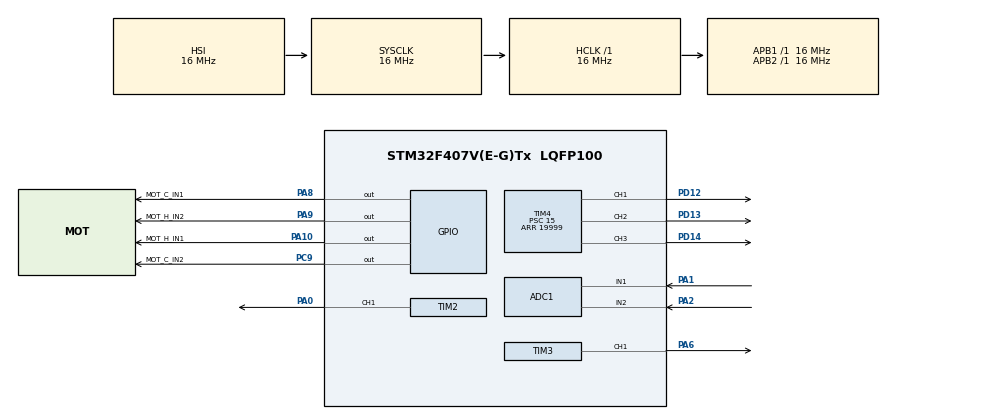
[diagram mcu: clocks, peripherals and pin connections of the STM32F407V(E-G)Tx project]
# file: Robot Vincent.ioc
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ADC1.Channel-0\#ChannelRegularConversion=ADC_CHANNEL_1
ADC1.Channel-1\#ChannelInjectedConversion=ADC_CHANNEL_1
ADC1.Channel-2\#ChannelInjectedConversion=ADC_CHANNEL_1
ADC1.Channel-3\#ChannelRegularConversion=ADC_CHANNEL_2
ADC1.InjNumberOfConversion=2
ADC1.InjectedOffset-1\#ChannelInjectedConversion=0
ADC1.InjectedOffset-2\#ChannelInjectedConversion=0
ADC1.InjectedRank-1\#ChannelInjectedConversion=1
ADC1.InjectedRank-2\#ChannelInjectedConversion=2
ADC1.NbrOfConversion=2
ADC1.NbrOfConversionFlag=1
ADC1.Rank-0\#ChannelRegularConversion=1
ADC1.Rank-3\#ChannelRegularConversion=2
ADC1.SamplingTime-0\#ChannelRegularConversion=ADC_SAMPLETIME_56CYCLES
ADC1.SamplingTime-1\#ChannelInjectedConversion=ADC_SAMPLETIME_56CYCLES
ADC1.SamplingTime-2\#ChannelInjectedConversion=ADC_SAMPLETIME_56CYCLES
ADC1.SamplingTime-3\#ChannelRegularConversion=ADC_SAMPLETIME_56CYCLES
ADC1.ScanConvMode=ENABLE
ADC1.master=1
FREERTOS.Queues01=Queue_commands,5,Command_t,0,Dynamic,NULL,NULL;Queue_points,10,Point3D_t,0,Dynamic,NULL,NULL;Queue_angles,2,Angles_t,0,Dynamic,NULL,NULL
FREERTOS.Tasks01=task_Comm,24,512,Start_task_Comm,Default,NULL,Dynamic,NULL,NULL;task_PID,48,256,Start_task_PID,Default,NULL,Dynamic,NULL,NULL;task_IK,40,1024,Start_task_IK,Default,NULL,Dynamic,NULL,NULL;task_Planner,32,512,Start_task_Planner,Default,NULL,Dynamic,NULL,NULL
FREERTOS.configCHECK_FOR_STACK_OVERFLOW=1
FREERTOS.configENABLE_FPU=1
FREERTOS.configLIBRARY_LOWEST_INTERRUPT_PRIORITY=15
FREERTOS.configLIBRARY_MAX_SYSCALL_INTERRUPT_PRIORITY=5
FREERTOS.configTOTAL_HEAP_SIZE=20480
FREERTOS.configUSE_NEWLIB_REENTRANT=1
Mcu.Family=STM32F4
Mcu.Name=STM32F407V(E-G)Tx
Mcu.Package=LQFP100
NVIC.PriorityGroup=NVIC_PRIORITYGROUP_4
NVIC.TIM6_DAC_IRQn=true\:0\:0\:true\:false\:true\:false\:false\:true\:true
NVIC.TimeBase=TIM6_DAC_IRQn
NVIC.TimeBaseIP=TIM6
PA0-WKUP.Signal=S_TIM2_CH1_ETR
PA1.Signal=ADCx_IN1
PA10.GPIO_Label=MOT_H_IN1
PA10.Signal=GPIO_Output
PA2.Signal=ADCx_IN2
PA6.Signal=S_TIM3_CH1
PA8.GPIO_Label=MOT_C_IN1
PA8.Signal=GPIO_Output
PA9.GPIO_Label=MOT_H_IN2
PA9.Signal=GPIO_Output
PC9.GPIO_Label=MOT_C_IN2
PC9.Signal=GPIO_Output
PD12.Signal=S_TIM4_CH1
PD13.Signal=S_TIM4_CH2
PD14.Signal=S_TIM4_CH3
ProjectManager.HeapSize=0x200
ProjectManager.StackSize=0x400
ProjectManager.TargetToolchain=STM32CubeIDE
RCC.48MHZClocksFreq_Value=14285714.285714285
RCC.AHBFreq_Value=16000000
RCC.APB1Freq_Value=16000000
RCC.APB1TimFreq_Value=16000000
RCC.APB2Freq_Value=16000000
RCC.APB2TimFreq_Value=16000000
RCC.CortexFreq_Value=16000000
RCC.HCLKFreq_Value=16000000
RCC.HSE_VALUE=8000000
RCC.HSI_VALUE=16000000
RCC.LSE_VALUE=32768
RCC.PLLM=8
RCC.PLLN=50
RCC.PLLP=RCC_PLLP_DIV4
RCC.PLLQ=7
RCC.SYSCLKFreq_VALUE=16000000
RCC.VCOOutputFreq_Value=100000000
SH.ADCx_IN1.0=ADC1_IN1,IN1
SH.ADCx_IN2.0=ADC1_IN2,IN2
SH.S_TIM2_CH1_ETR.0=TIM2_CH1,PWM Generation1 CH1
SH.S_TIM3_CH1.0=TIM3_CH1,PWM Generation1 CH1
SH.S_TIM4_CH1.0=TIM4_CH1,PWM Generation1 CH1
SH.S_TIM4_CH2.0=TIM4_CH2,PWM Generation2 CH2
SH.S_TIM4_CH3.0=TIM4_CH3,PWM Generation3 CH3
TIM2.Channel-PWM\ Generation1\ CH1=TIM_CHANNEL_1
TIM2.Period=799
TIM3.Channel-PWM\ Generation1\ CH1=TIM_CHANNEL_1
TIM3.Period=799
TIM4.Channel-PWM\ Generation1\ CH1=TIM_CHANNEL_1
TIM4.Channel-PWM\ Generation2\ CH2=TIM_CHANNEL_2
TIM4.Channel-PWM\ Generation3\ CH3=TIM_CHANNEL_3
TIM4.Period=19999
TIM4.Prescaler=15
VP_FREERTOS_VS_CMSIS_V2.Mode=CMSIS_V2
VP_SYS_VS_tim6.Mode=TIM6
board=STM32F407G-DISC1

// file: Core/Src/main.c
/* USER CODE BEGIN Header */
/**
  ******************************************************************************
  * @file           : main.c
  * @brief          : Main program body
  ******************************************************************************
  * @attention
  *
  * Copyright (c) 2026 STMicroelectronics.
  * All rights reserved.
  *
  * This software is licensed under terms that can be found in the LICENSE file
  * in the root directory of this software component.
  * If no LICENSE file comes with this software, it is provided AS-IS.
  *
  ******************************************************************************
  */
/* USER CODE END Header */
#include "main.h"
#include "cmsis_os.h"

/* USER CODE BEGIN Includes */
#include <math.h> // Para relaciones trigonométricas
#include <stdlib.h>
/* USER CODE END Includes */

/* USER CODE BEGIN PD */
// Definiciones de la geometría del brazo [mm]
#define L1 40.0f  // Altura desde la base hasta la articulación del hombro
#define L2 184.56f  // Longitud del eslabón del hombro
#define L3 114.5f  // Longitud del eslabón del codo
#define L4 110.0f   // Longitud de la muñeca hasta la punta
/* USER CODE END PD */

ADC_HandleTypeDef hadc1;

TIM_HandleTypeDef htim2;
TIM_HandleTypeDef htim3;
TIM_HandleTypeDef htim4;

/* Definitions for task_Comm */
osThreadId_t task_CommHandle;
const osThreadAttr_t task_Comm_attributes = {
  .name = "task_Comm",
  .stack_size = 512 * 4,
  .priority = (osPriority_t) osPriorityNormal,
};
/* Definitions for task_PID */
osThreadId_t task_PIDHandle;
const osThreadAttr_t task_PID_attributes = {
  .name = "task_PID",
  .stack_size = 256 * 4,
  .priority = (osPriority_t) osPriorityRealtime,
};
/* Definitions for task_IK */
osThreadId_t task_IKHandle;
const osThreadAttr_t task_IK_attributes = {
  .name = "task_IK",
  .stack_size = 1024 * 4,
  .priority = (osPriority_t) osPriorityHigh,
};
/* Definitions for task_Planner */
osThreadId_t task_PlannerHandle;
const osThreadAttr_t task_Planner_attributes = {
  .name = "task_Planner",
  .stack_size = 512 * 4,
  .priority = (osPriority_t) osPriorityAboveNormal,
};
/* Definitions for Queue_commands */
osMessageQueueId_t Queue_commandsHandle;
const osMessageQueueAttr_t Queue_commands_attributes = {
  .name = "Queue_commands"
};
/* Definitions for Queue_points */
osMessageQueueId_t Queue_pointsHandle;
const osMessageQueueAttr_t Queue_points_attributes = {
  .name = "Queue_points"
};
/* Definitions for Queue_angles */
osMessageQueueId_t Queue_anglesHandle;
const osMessageQueueAttr_t Queue_angles_attributes = {
  .name = "Queue_angles"
};

void SystemClock_Config(void);
static void MX_GPIO_Init(void);
static void MX_ADC1_Init(void);
static void MX_TIM2_Init(void);
static void MX_TIM3_Init(void);
static void MX_TIM4_Init(void);
void Start_task_Comm(void *argument);
void Start_task_PID(void *argument);
void Start_task_IK(void *argument);
void Start_task_Planner(void *argument);

/* USER CODE BEGIN 0 */
static uint16_t adc_val_codo = 0;
static uint16_t adc_val_hombro = 0;

static int calculo_angulo_base = 0;
static int calculo_angulo_hombro = 0;
static int calculo_angulo_codo = 0;
static int calculo_angulo_muñeca = 0;

static int seguimiento_rutina = 0;
/* USER CODE END 0 */

int main(void)
{

  /* MCU Configuration--------------------------------------------------------*/

  /* Reset of all peripherals, Initializes the Flash interface and the Systick. */
  HAL_Init();

  /* Configure the system clock */
  SystemClock_Config();

  /* Initialize all configured peripherals */
  MX_GPIO_Init();
  MX_ADC1_Init();
  MX_TIM2_Init();
  MX_TIM3_Init();
  MX_TIM4_Init();

  /* Init scheduler */
  osKernelInitialize();

  /* Create the queue(s) */
  /* creation of Queue_commands */
  Queue_commandsHandle = osMessageQueueNew (5, sizeof(Command_t), &Queue_commands_attributes);

  /* creation of Queue_points */
  Queue_pointsHandle = osMessageQueueNew (10, sizeof(Point3D_t), &Queue_points_attributes);

  /* creation of Queue_angles */
  Queue_anglesHandle = osMessageQueueNew (2, sizeof(Angles_t), &Queue_angles_attributes);

  /* Create the thread(s) */
  /* creation of task_Comm */
  task_CommHandle = osThreadNew(Start_task_Comm, NULL, &task_Comm_attributes);

  /* creation of task_PID */
  task_PIDHandle = osThreadNew(Start_task_PID, NULL, &task_PID_attributes);

  /* creation of task_IK */
  task_IKHandle = osThreadNew(Start_task_IK, NULL, &task_IK_attributes);

  /* creation of task_Planner */
  task_PlannerHandle = osThreadNew(Start_task_Planner, NULL, &task_Planner_attributes);

  /* Start scheduler */
  osKernelStart();

  /* We should never get here as control is now taken by the scheduler */

  /* Infinite loop */
  while (1)
  {

  }
}

void SystemClock_Config(void)
{
  RCC_OscInitTypeDef RCC_OscInitStruct = {0};
  RCC_ClkInitTypeDef RCC_ClkInitStruct = {0};

  /** Configure the main internal regulator output voltage
  */
  __HAL_RCC_PWR_CLK_ENABLE();
  __HAL_PWR_VOLTAGESCALING_CONFIG(PWR_REGULATOR_VOLTAGE_SCALE1);

  /** Initializes the RCC Oscillators according to the specified parameters
  * in the RCC_OscInitTypeDef structure.
  */
  RCC_OscInitStruct.OscillatorType = RCC_OSCILLATORTYPE_HSI;
  RCC_OscInitStruct.HSIState = RCC_HSI_ON;
  RCC_OscInitStruct.HSICalibrationValue = RCC_HSICALIBRATION_DEFAULT;
  RCC_OscInitStruct.PLL.PLLState = RCC_PLL_NONE;
  if (HAL_RCC_OscConfig(&RCC_OscInitStruct) != HAL_OK)
  {
    Error_Handler();
  }

  /** Initializes the CPU, AHB and APB buses clocks
  */
  RCC_ClkInitStruct.ClockType = RCC_CLOCKTYPE_HCLK|RCC_CLOCKTYPE_SYSCLK
                              |RCC_CLOCKTYPE_PCLK1|RCC_CLOCKTYPE_PCLK2;
  RCC_ClkInitStruct.SYSCLKSource = RCC_SYSCLKSOURCE_HSI;
  RCC_ClkInitStruct.AHBCLKDivider = RCC_SYSCLK_DIV1;
  RCC_ClkInitStruct.APB1CLKDivider = RCC_HCLK_DIV1;
  RCC_ClkInitStruct.APB2CLKDivider = RCC_HCLK_DIV1;

  if (HAL_RCC_ClockConfig(&RCC_ClkInitStruct, FLASH_LATENCY_0) != HAL_OK)
  {
    Error_Handler();
  }
}

static void MX_ADC1_Init(void)
{

  ADC_ChannelConfTypeDef sConfig = {0};
  ADC_InjectionConfTypeDef sConfigInjected = {0};

  /** Configure the global features of the ADC (Clock, Resolution, Data Alignment and number of conversion)
  */
  hadc1.Instance = ADC1;
  hadc1.Init.ClockPrescaler = ADC_CLOCK_SYNC_PCLK_DIV2;
  hadc1.Init.Resolution = ADC_RESOLUTION_12B;
  hadc1.Init.ScanConvMode = ENABLE;
  hadc1.Init.ContinuousConvMode = DISABLE;
  hadc1.Init.DiscontinuousConvMode = DISABLE;
  hadc1.Init.ExternalTrigConvEdge = ADC_EXTERNALTRIGCONVEDGE_NONE;
  hadc1.Init.ExternalTrigConv = ADC_SOFTWARE_START;
  hadc1.Init.DataAlign = ADC_DATAALIGN_RIGHT;
  hadc1.Init.NbrOfConversion = 2;
  hadc1.Init.DMAContinuousRequests = DISABLE;
  hadc1.Init.EOCSelection = ADC_EOC_SINGLE_CONV;
  if (HAL_ADC_Init(&hadc1) != HAL_OK)
  {
    Error_Handler();
  }

  /** Configure for the selected ADC regular channel its corresponding rank in the sequencer and its sample time.
  */
  sConfig.Channel = ADC_CHANNEL_1;
  sConfig.Rank = 1;
  sConfig.SamplingTime = ADC_SAMPLETIME_56CYCLES;
  if (HAL_ADC_ConfigChannel(&hadc1, &sConfig) != HAL_OK)
  {
    Error_Handler();
  }

  /** Configure for the selected ADC regular channel its corresponding rank in the sequencer and its sample time.
  */
  sConfig.Channel = ADC_CHANNEL_2;
  sConfig.Rank = 2;
  if (HAL_ADC_ConfigChannel(&hadc1, &sConfig) != HAL_OK)
  {
    Error_Handler();
  }

  /** Configures for the selected ADC injected channel its corresponding rank in the sequencer and its sample time
  */
  sConfigInjected.InjectedChannel = ADC_CHANNEL_1;
  sConfigInjected.InjectedRank = 1;
  sConfigInjected.InjectedNbrOfConversion = 2;
  sConfigInjected.InjectedSamplingTime = ADC_SAMPLETIME_56CYCLES;
  sConfigInjected.ExternalTrigInjecConvEdge = ADC_EXTERNALTRIGINJECCONVEDGE_NONE;
  sConfigInjected.ExternalTrigInjecConv = ADC_INJECTED_SOFTWARE_START;
  sConfigInjected.AutoInjectedConv = DISABLE;
  sConfigInjected.InjectedDiscontinuousConvMode = DISABLE;
  sConfigInjected.InjectedOffset = 0;
  if (HAL_ADCEx_InjectedConfigChannel(&hadc1, &sConfigInjected) != HAL_OK)
  {
    Error_Handler();
  }

  /** Configures for the selected ADC injected channel its corresponding rank in the sequencer and its sample time
  */
  sConfigInjected.InjectedRank = 2;
  if (HAL_ADCEx_InjectedConfigChannel(&hadc1, &sConfigInjected) != HAL_OK)
  {
    Error_Handler();
  }

}

static void MX_TIM2_Init(void)
{

  TIM_MasterConfigTypeDef sMasterConfig = {0};
  TIM_OC_InitTypeDef sConfigOC = {0};

  htim2.Instance = TIM2;
  htim2.Init.Prescaler = 0;
  htim2.Init.CounterMode = TIM_COUNTERMODE_UP;
  htim2.Init.Period = 799;
  htim2.Init.ClockDivision = TIM_CLOCKDIVISION_DIV1;
  htim2.Init.AutoReloadPreload = TIM_AUTORELOAD_PRELOAD_DISABLE;
  if (HAL_TIM_PWM_Init(&htim2) != HAL_OK)
  {
    Error_Handler();
  }
  sMasterConfig.MasterOutputTrigger = TIM_TRGO_RESET;
  sMasterConfig.MasterSlaveMode = TIM_MASTERSLAVEMODE_DISABLE;
  if (HAL_TIMEx_MasterConfigSynchronization(&htim2, &sMasterConfig) != HAL_OK)
  {
    Error_Handler();
  }
  sConfigOC.OCMode = TIM_OCMODE_PWM1;
  sConfigOC.Pulse = 0;
  sConfigOC.OCPolarity = TIM_OCPOLARITY_HIGH;
  sConfigOC.OCFastMode = TIM_OCFAST_DISABLE;
  if (HAL_TIM_PWM_ConfigChannel(&htim2, &sConfigOC, TIM_CHANNEL_1) != HAL_OK)
  {
    Error_Handler();
  }
  HAL_TIM_MspPostInit(&htim2);

}

static void MX_TIM3_Init(void)
{

  TIM_MasterConfigTypeDef sMasterConfig = {0};
  TIM_OC_InitTypeDef sConfigOC = {0};

  htim3.Instance = TIM3;
  htim3.Init.Prescaler = 0;
  htim3.Init.CounterMode = TIM_COUNTERMODE_UP;
  htim3.Init.Period = 799;
  htim3.Init.ClockDivision = TIM_CLOCKDIVISION_DIV1;
  htim3.Init.AutoReloadPreload = TIM_AUTORELOAD_PRELOAD_DISABLE;
  if (HAL_TIM_PWM_Init(&htim3) != HAL_OK)
  {
    Error_Handler();
  }
  sMasterConfig.MasterOutputTrigger = TIM_TRGO_RESET;
  sMasterConfig.MasterSlaveMode = TIM_MASTERSLAVEMODE_DISABLE;
  if (HAL_TIMEx_MasterConfigSynchronization(&htim3, &sMasterConfig) != HAL_OK)
  {
    Error_Handler();
  }
  sConfigOC.OCMode = TIM_OCMODE_PWM1;
  sConfigOC.Pulse = 0;
  sConfigOC.OCPolarity = TIM_OCPOLARITY_HIGH;
  sConfigOC.OCFastMode = TIM_OCFAST_DISABLE;
  if (HAL_TIM_PWM_ConfigChannel(&htim3, &sConfigOC, TIM_CHANNEL_1) != HAL_OK)
  {
    Error_Handler();
  }
  HAL_TIM_MspPostInit(&htim3);

}

static void MX_TIM4_Init(void)
{

  TIM_MasterConfigTypeDef sMasterConfig = {0};
  TIM_OC_InitTypeDef sConfigOC = {0};

  htim4.Instance = TIM4;
  htim4.Init.Prescaler = 15;
  htim4.Init.CounterMode = TIM_COUNTERMODE_UP;
  htim4.Init.Period = 19999;
  htim4.Init.ClockDivision = TIM_CLOCKDIVISION_DIV1;
  htim4.Init.AutoReloadPreload = TIM_AUTORELOAD_PRELOAD_DISABLE;
  if (HAL_TIM_PWM_Init(&htim4) != HAL_OK)
  {
    Error_Handler();
  }
  sMasterConfig.MasterOutputTrigger = TIM_TRGO_RESET;
  sMasterConfig.MasterSlaveMode = TIM_MASTERSLAVEMODE_DISABLE;
  if (HAL_TIMEx_MasterConfigSynchronization(&htim4, &sMasterConfig) != HAL_OK)
  {
    Error_Handler();
  }
  sConfigOC.OCMode = TIM_OCMODE_PWM1;
  sConfigOC.Pulse = 0;
  sConfigOC.OCPolarity = TIM_OCPOLARITY_HIGH;
  sConfigOC.OCFastMode = TIM_OCFAST_DISABLE;
  if (HAL_TIM_PWM_ConfigChannel(&htim4, &sConfigOC, TIM_CHANNEL_1) != HAL_OK)
  {
    Error_Handler();
  }
  if (HAL_TIM_PWM_ConfigChannel(&htim4, &sConfigOC, TIM_CHANNEL_2) != HAL_OK)
  {
    Error_Handler();
  }
  if (HAL_TIM_PWM_ConfigChannel(&htim4, &sConfigOC, TIM_CHANNEL_3) != HAL_OK)
  {
    Error_Handler();
  }
  HAL_TIM_MspPostInit(&htim4);

}

static void MX_GPIO_Init(void)
{
  GPIO_InitTypeDef GPIO_InitStruct = {0};

  /* GPIO Ports Clock Enable */
  __HAL_RCC_GPIOA_CLK_ENABLE();
  __HAL_RCC_GPIOD_CLK_ENABLE();
  __HAL_RCC_GPIOC_CLK_ENABLE();

  /*Configure GPIO pin Output Level */
  HAL_GPIO_WritePin(MOT_C_IN2_GPIO_Port, MOT_C_IN2_Pin, GPIO_PIN_RESET);

  /*Configure GPIO pin Output Level */
  HAL_GPIO_WritePin(GPIOA, MOT_C_IN1_Pin|MOT_H_IN2_Pin|MOT_H_IN1_Pin, GPIO_PIN_RESET);

  /*Configure GPIO pin : MOT_C_IN2_Pin */
  GPIO_InitStruct.Pin = MOT_C_IN2_Pin;
  GPIO_InitStruct.Mode = GPIO_MODE_OUTPUT_PP;
  GPIO_InitStruct.Pull = GPIO_NOPULL;
  GPIO_InitStruct.Speed = GPIO_SPEED_FREQ_LOW;
  HAL_GPIO_Init(MOT_C_IN2_GPIO_Port, &GPIO_InitStruct);

  /*Configure GPIO pins : MOT_C_IN1_Pin MOT_H_IN2_Pin MOT_H_IN1_Pin */
  GPIO_InitStruct.Pin = MOT_C_IN1_Pin|MOT_H_IN2_Pin|MOT_H_IN1_Pin;
  GPIO_InitStruct.Mode = GPIO_MODE_OUTPUT_PP;
  GPIO_InitStruct.Pull = GPIO_NOPULL;
  GPIO_InitStruct.Speed = GPIO_SPEED_FREQ_LOW;
  HAL_GPIO_Init(GPIOA, &GPIO_InitStruct);

}

void Start_task_Comm(void *argument)
{
  /* USER CODE BEGIN 5 */
  Command_t test_command;

  float mesa_X_colores[3] = {150.0f, 100.0f, 30.0f};
  float mesa_Y_colores[3] = {250.0f, 340.0f, 360.0f};
  int color_actual = 0;

  // Subimos Z: Si la mesa está muy baja, la muñeca tiene que doblarse demasiado
  float mesa_Z_aire = 120.0f;
  float mesa_Z_mesa = 95.0f;    // Altura de recogida/entrega

  osDelay(2000);

  for(;;)
  {
    // DIBUJO

    // 1. PUNTO INICIAL
    test_command.type = CMD_MOVE_LINEAR;
    test_command.x = 300.0f; test_command.y = 0.0f; test_command.z = 100.0f;
    seguimiento_rutina = 1;
    osMessageQueuePut(Queue_commandsHandle, &test_command, 0, osWaitForever);
    osDelay(8000);

    // 2. ACERCAMIENTO
    test_command.x = 330.0f; test_command.y = 0.0f; test_command.z = 50.0f;
    seguimiento_rutina = 2;
    osMessageQueuePut(Queue_commandsHandle, &test_command, 0, osWaitForever);
    osDelay(8000);

    // 3. LÍNEA
    test_command.x = 310.0f; test_command.y = 150.0f; test_command.z = 50.0f;
    seguimiento_rutina = 3;
    osMessageQueuePut(Queue_commandsHandle, &test_command, 0, osWaitForever);
    osDelay(8000);

    // 4. RETIRARSE
    test_command.x = 300.0f; test_command.y = 150.0f; test_command.z = 100.0f;
    seguimiento_rutina = 4;
    osMessageQueuePut(Queue_commandsHandle, &test_command, 0, osWaitForever);
    osDelay(5000);

    //CAMBIO DE ROTULADOR (Coordenadas Corregidas)

    // 5. IR A LA MESA (Posicionarse sobre el color actual)
    test_command.type = CMD_MOVE_LINEAR;
    test_command.x = mesa_X_colores[color_actual];
    test_command.y = mesa_Y_colores[color_actual];
    test_command.z = mesa_Z_aire;
    seguimiento_rutina = 5;
    osMessageQueuePut(Queue_commandsHandle, &test_command, 0, osWaitForever);
    osDelay(8000);

    // 6. DEJAR ROTULADOR
    test_command.z = mesa_Z_mesa;
    osMessageQueuePut(Queue_commandsHandle, &test_command, 0, osWaitForever);
    osDelay(5000);

    test_command.type = CMD_GRIPPER; // Abre
    seguimiento_rutina = 6;
    osMessageQueuePut(Queue_commandsHandle, &test_command, 0, osWaitForever);
    osDelay(3000);

    // 7. SUBIR Y MOVER AL SIGUIENTE
    test_command.type = CMD_MOVE_LINEAR;
    test_command.z = mesa_Z_aire;
    osMessageQueuePut(Queue_commandsHandle, &test_command, 0, osWaitForever);
    osDelay(5000);

    ++color_actual;
    test_command.x = mesa_X_colores[color_actual];
    test_command.y = mesa_Y_colores[color_actual];
    seguimiento_rutina = 7;
    osMessageQueuePut(Queue_commandsHandle, &test_command, 0, osWaitForever);
    osDelay(5000);

    // 8. COGER NUEVO ROTULADOR
    test_command.z = mesa_Z_mesa;
    osMessageQueuePut(Queue_commandsHandle, &test_command, 0, osWaitForever);
    osDelay(5000);

    test_command.type = CMD_GRIPPER; // Cierra
    seguimiento_rutina = 8;
    osMessageQueuePut(Queue_commandsHandle, &test_command, 0, osWaitForever);
    osDelay(5000);

    // 9. SALIR DE LA MESA
    test_command.type = CMD_MOVE_LINEAR;
    test_command.z = mesa_Z_aire;
    seguimiento_rutina = 9;
    osMessageQueuePut(Queue_commandsHandle, &test_command, 0, osWaitForever);
    osDelay(5000);

    if (color_actual ==2) color_actual = 0;
  }
}

/* USER CODE BEGIN Header_Start_task_PID */
/**
Esta función se encarga de recibir los ángulos (tipo definido Angle_t) que deberían tener los servomotores de realimentación e implementa un
PID para ajustar la salida PWM. Para ello se hará uso de una lectura ADC (potenciómetro del servomotor), que servirá como referencia
para caracterizar la realimentación @brief Function implementing the task_PID thread.
* @param argument: Not used
* @retval None
*/
/* USER CODE END Header_Start_task_PID */
void Start_task_PID(void *argument)
{
  /* USER CODE BEGIN Start_task_PID */
	  // ARRANCAR SEÑALES PWM
	    HAL_TIM_PWM_Start(&htim2, TIM_CHANNEL_1); // Hombro ENA
	    HAL_TIM_PWM_Start(&htim3, TIM_CHANNEL_1); // Codo ENB
	    HAL_TIM_PWM_Start(&htim4, TIM_CHANNEL_1); // Base Servo
	    HAL_TIM_PWM_Start(&htim4, TIM_CHANNEL_2); // Muñeca Servo
	    HAL_TIM_PWM_Start(&htim4, TIM_CHANNEL_3); // Gripper

  Angles_t angulos_recibidos;
  static uint32_t last_pulse_q4 = 0; // Para evitar temblores guardamos el estado anterior

  // --- Variables para Motores con Realimentación (q2, q3) ---
  int posicionDeseada[2] = {1160, 2048};
  float errorAcumulado[2] = {0, 0};
  uint32_t tiempoAnterior = HAL_GetTick();
  float Kp = 2.2f; // Ajustado para mayor respuesta de corrección
  float Ki = 0.8f; // Ajustado para vencer la gravedad en el hombro

  HAL_ADC_Start(&hadc1);
  HAL_ADC_PollForConversion(&hadc1, 10);
  posicionDeseada[0] = HAL_ADC_GetValue(&hadc1); // El hombro se queda donde está
  HAL_ADC_PollForConversion(&hadc1, 10);
  posicionDeseada[1] = HAL_ADC_GetValue(&hadc1); // El codo se queda donde está
  HAL_ADC_Stop(&hadc1);

  for(;;)
  {
    // RECIBIR ÓRDENES Y ACTUALIZAR SETPOINTS
    if (osMessageQueueGet(Queue_anglesHandle, &angulos_recibidos, NULL, 0) == osOK)
    {
    	// --- SERVOS LAZO ABIERTO (q1 y q4) ---
    	// 2000 us/180º = 11.11 de pendiente
    	uint32_t pulse_q1 = (uint32_t)(angulos_recibidos.angles[0] * 11.11f + 500);

    	// --- NUEVA CALIBRACIÓN MUÑECA (q4) ---
    	// Referencia: 0º Reales = 25º PWM.
    	// Comportamiento: Al subir ángulos en código, baja físicamente (Inversión).
    	// Fórmula: (Referencia - Ángulo_Deseado)
    	float angulo_calibrado_q4 = 6.0f - angulos_recibidos.angles[3];

    	// Convertimos a microsegundos (PWM)
    	float calc_q4 = (angulo_calibrado_q4 * 11.11f) + 500.0f;

    	// --- PROTECCIÓN (SATURACIÓN) ---
    	// Ajustamos límites para permitir el rango de -130º si es necesario
    	if (calc_q4 < 400.0f)  calc_q4 = 400.0f;  // Límite mínimo de seguridad
    	if (calc_q4 > 2600.0f) calc_q4 = 2600.0f; // Límite máximo de seguridad

    	uint32_t pulse_q4 = (uint32_t)calc_q4;

    	// --- ENVÍO A TIMERS CON FILTRO ANTI-TEMBLOR ---
    	__HAL_TIM_SET_COMPARE(&htim4, TIM_CHANNEL_1, pulse_q1); // Base

    	if(abs((int)pulse_q4 - (int)last_pulse_q4) > 2) {
    	    __HAL_TIM_SET_COMPARE(&htim4, TIM_CHANNEL_2, pulse_q4); // Muñeca
    	    last_pulse_q4 = pulse_q4;
    	}

      // --- B. SETPOINTS PARA PI (q2 y q3) ---
      // Nueva fórmula calibrada: Base 2080 + (ángulo * sensibilidad)
      //0º se corresponde con 2080, y 90º con 3700 de la lectura realizada con el ADC
      //Rango: 3700 - 2080 = 1620 puntos de ADC por cada 90 grados.

      posicionDeseada[0] = (int)(2080.0f + (angulos_recibidos.angles[1] * (1620.0f / 90.0f)));
      // Limitar el objetivo entre el tope físico inferior y el superior detectado
      if (posicionDeseada[0] < 1810) posicionDeseada[0] = 1810;
      if (posicionDeseada[0] > 3750) posicionDeseada[0] = 3750;

      // Nueva fórmula calibrada para el codo (Nuevo Servo)
      posicionDeseada[1] = (int)(1830.0f + (angulos_recibidos.angles[2] * (1740.0f / 90.0f)));

      // --- SEGURIDAD: LÍMITES MECÁNICOS ---
      if (posicionDeseada[1] < 1800) posicionDeseada[1] = 1800;
      if (posicionDeseada[1] > 3600) posicionDeseada[1] = 3600;
    }

    // 2. LECTURA ADC
    int valorPotenciometro[2];
    HAL_ADC_Start(&hadc1);

    // Esperar y leer la primera conversión (Hombro - Rank 1)
        if (HAL_ADC_PollForConversion(&hadc1, 10) == HAL_OK) {
            valorPotenciometro[0] = HAL_ADC_GetValue(&hadc1);
            adc_val_hombro = valorPotenciometro[1];
        }

        // Esperar y leer la segunda conversión (Codo - Rank 2)
        if (HAL_ADC_PollForConversion(&hadc1, 10) == HAL_OK) {
            valorPotenciometro[1] = HAL_ADC_GetValue(&hadc1);
            adc_val_codo = valorPotenciometro[1];
        }
    HAL_ADC_Stop(&hadc1);

    // 3. CÁLCULO DEL TIEMPO (dt)
    uint32_t tiempoActual = HAL_GetTick();
    float dt = (float)(tiempoActual - tiempoAnterior) / 1000.0f;
    if (dt <= 0) dt = 0.01f;
    tiempoAnterior = tiempoActual;

    // 4. BUCLE DE CONTROL PI
    for (int i = 0; i < 2; i++)
    {
      float error = (float)posicionDeseada[i] - (float)valorPotenciometro[i];

      // Zona muerta
      if (error > -10 && error < 10) {
          error = 0;
      }

      // Anti-windup (Corregido para permitir corrección en ambos sentidos)
      if (fabsf(error) < 400.0f) {
          errorAcumulado[i] += (error * dt);
      } else {
          errorAcumulado[i] = 0;
      }

      // Limitación de la integral para evitar saturación excesiva
      if (errorAcumulado[i] > 500.0f) errorAcumulado[i] = 500.0f;
      if (errorAcumulado[i] < -500.0f) errorAcumulado[i] = -500.0f;

      float pwm_calc = (Kp * error) + (Ki * errorAcumulado[i]);

      // La velocidad es siempre el valor absoluto del cálculo
      uint32_t velocidad = (uint32_t)fabsf(pwm_calc);
      if (velocidad > 700) velocidad = 700; // Aumentado para vencer carga mecánica

      // 5. SALIDA AL L298N (IN1, IN2 y ENA)
      if (i == 0) // MOTOR HOMBRO (Articulación 2)
      {
          if (error == 0) {
              HAL_GPIO_WritePin(MOT_H_IN1_GPIO_Port, MOT_H_IN1_Pin, GPIO_PIN_RESET);
              HAL_GPIO_WritePin(MOT_H_IN2_GPIO_Port, MOT_H_IN2_Pin, GPIO_PIN_RESET);
              __HAL_TIM_SET_COMPARE(&htim2, TIM_CHANNEL_1, 0);
          }
          else if (pwm_calc > 0) { // Sentido A
              HAL_GPIO_WritePin(MOT_H_IN1_GPIO_Port, MOT_H_IN1_Pin, GPIO_PIN_SET);
              HAL_GPIO_WritePin(MOT_H_IN2_GPIO_Port, MOT_H_IN2_Pin, GPIO_PIN_RESET);
              __HAL_TIM_SET_COMPARE(&htim2, TIM_CHANNEL_1, velocidad);
          }
          else { // Sentido B
              HAL_GPIO_WritePin(MOT_H_IN1_GPIO_Port, MOT_H_IN1_Pin, GPIO_PIN_RESET);
              HAL_GPIO_WritePin(MOT_H_IN2_GPIO_Port, MOT_H_IN2_Pin, GPIO_PIN_SET);
              __HAL_TIM_SET_COMPARE(&htim2, TIM_CHANNEL_1, velocidad);
          }
      }
      else // MOTOR CODO (Articulación 3)
      {
          if (error == 0) {
              HAL_GPIO_WritePin(MOT_C_IN1_GPIO_Port, MOT_C_IN1_Pin, GPIO_PIN_RESET);
              HAL_GPIO_WritePin(MOT_C_IN2_GPIO_Port, MOT_C_IN2_Pin, GPIO_PIN_RESET);
              __HAL_TIM_SET_COMPARE(&htim3, TIM_CHANNEL_1, 0);
          }
          else if (pwm_calc > 0) { // Sentido A
              HAL_GPIO_WritePin(MOT_C_IN1_GPIO_Port, MOT_C_IN1_Pin, GPIO_PIN_SET);
              HAL_GPIO_WritePin(MOT_C_IN2_GPIO_Port, MOT_C_IN2_Pin, GPIO_PIN_RESET);
              __HAL_TIM_SET_COMPARE(&htim3, TIM_CHANNEL_1, velocidad);
          }
          else { // Sentido B
              HAL_GPIO_WritePin(MOT_C_IN1_GPIO_Port, MOT_C_IN1_Pin, GPIO_PIN_RESET);
              HAL_GPIO_WritePin(MOT_C_IN2_GPIO_Port, MOT_C_IN2_Pin, GPIO_PIN_SET);
              __HAL_TIM_SET_COMPARE(&htim3, TIM_CHANNEL_1, velocidad);
          }
      }
    }
    osDelay(10);
  }
  /* USER CODE END Start_task_PID */
}

/* USER CODE BEGIN Header_Start_task_IK */
/**
* Esta función recibe las coordenadas (tipo Point3D_t) y se encarga de calcular la cinemática inversa del robot (los ángulos requeridos por los actuadores)
* También actualiza el PWM de los servomotores de posición, y envía el ángulo (tipo Angles_t) a task_PID
*/
/* USER CODE END Header_Start_task_IK */
void Start_task_IK(void *argument)
{
  Point3D_t p;
  Angles_t a;
  float phi; // Ángulo de ataque en radianes

  for(;;)
  {
    if (osMessageQueueGet(Queue_pointsHandle, &p, NULL, osWaitForever) == osOK)
    {
        // Determinamos el ángulo de ataque según la intención:

    	// Si la coordenada X es menor a 200, asumimos que estamos en la "Zona de Mesa"
    	// donde necesitamos que el rotulador esté perfectamente vertical (-90º).
    	if (p.x < 200.0f) {
    	    phi = -90.0f * (M_PI / 180.0f); // Ángulo vertical para la mesa
    	}
    	else {
    	    // Si estamos lejos (Zona de dibujo), usamos el ángulo de ataque para pintar.
    	    phi = -45.0f * (M_PI / 180.0f); // Ángulo inclinado para pintar
    	}

        // 1. Base (q1)
        a.angles[0] = atan2f(p.y, p.x) * (180.0f / M_PI);

        // 2. Proyección y posición de la articulación de la muñeca (Articulación 4)
        float r = sqrtf(p.x * p.x + p.y * p.y);

        float rw = r - L4 * cosf(phi);
        float zw = (p.z - L1) - L4 * sinf(phi);

        // 3. Codo (q3) - Ley de Cosenos
        float dist_sq = rw * rw + zw * zw;
        float cos_q3 = (dist_sq - L2 * L2 - L3 * L3) / (2.0f * L2 * L3);

        //PROTECCIÓN CRÍTICA
        if (cos_q3 > 1.0f) cos_q3 = 1.0f;
        if (cos_q3 < -1.0f) cos_q3 = -1.0f;

        float q3_rad = acosf(cos_q3);

        // 4. Hombro (q2)
        float alpha = atan2f(zw, rw);
        float beta = atan2f(L3 * sinf(q3_rad), L2 + L3 * cosf(q3_rad));
        float q2_rad = alpha + beta;

        // 5. Muñeca (q4)
        // La fórmula real para que la punta esté a 'phi' respecto a la horizontal es:
        float q4_rad = phi - q2_rad - q3_rad;

        // Conversión a grados
        a.angles[1] = q2_rad * (180.0f / M_PI);
        a.angles[2] = q3_rad * (180.0f / M_PI);
        a.angles[3] = q4_rad * (180.0f / M_PI);

        if (a.angles[3]<-150) a.angles[3]=-150; // Limitamos la muñeca a -150º para protegerla

        // Actualización de variables de debug
        calculo_angulo_base = (int)a.angles[0];
        calculo_angulo_hombro = (int)a.angles[1];
        calculo_angulo_codo = (int)a.angles[2];
        calculo_angulo_muñeca = (int)a.angles[3];

        osMessageQueuePut(Queue_anglesHandle, &a, 0, osWaitForever);
    }
  }
}

/* USER CODE BEGIN Header_Start_task_Planner */
/**
Recibe los comandos (tipo Command_t) y se encarga de descomponer la trayectoria en puntos que task_IK pueda calcular (tipo Point3D_t)
Además tiene una máquina de estados (espera, coger_color y pintando)
*/
/* USER CODE END Header_Start_task_Planner */
void Start_task_Planner(void *argument)
{
  Command_t cmd;
  Point3D_t point;

  float current_x = 330.0f, current_y = 0.0f, current_z = 50.0f;

  // Estado inicial: 1 = Cerrado (Cogiendo), 0 = Abierto
  point.pen_down = 1;

  for(;;)
  {
    if (osMessageQueueGet(Queue_commandsHandle, &cmd, NULL, osWaitForever) == osOK)
    {
    	if (cmd.type == CMD_MOVE_LINEAR)
    	{
    	    float dist = sqrtf(powf(cmd.x - current_x, 2) + powf(cmd.y - current_y, 2) + powf(cmd.z - current_z, 2));

    	    //Para resolver el problema de dependencia con un número de pasos constante (que hacía que trayectorias más largas tuviesen mucha
    	    // más velocidad y viceversa), creamos una variable pasos_dinamicos que dependa de la distancia que queremos trazar

    	    // Definimos que queremos movernos a, por ejemplo, 20mm por segundo
    	    // Si cada paso tarda 20ms (0.02s), en cada paso recorremos (Vel * 0.02) mm
    	    int pasos_dinamicos = (int)(dist / 2.5f); // Ajustamos el 1.5f para cambiar la velocidad global
    	    if (pasos_dinamicos < 10) pasos_dinamicos = 10; // Mínimo de pasos

    	    float diff_x = (cmd.x - current_x) / pasos_dinamicos;
    	    float diff_y = (cmd.y - current_y) / pasos_dinamicos;
    	    float diff_z = (cmd.z - current_z) / pasos_dinamicos;

    	    for (int i = 1; i <= pasos_dinamicos; i++)
    	    {
    	        point.x = current_x + (diff_x * i);
    	        point.y = current_y + (diff_y * i);
    	        point.z = current_z + (diff_z * i);
    	        osMessageQueuePut(Queue_pointsHandle, &point, 0, osWaitForever);
    	        osDelay(20);
    	    }
    	    current_x = cmd.x; current_y = cmd.y; current_z = cmd.z;
    	}
      else if (cmd.type == CMD_GRIPPER)
      {
          uint32_t pulse_target;

          if (point.pen_down == 1) // Si está con color, lo soltamos
          {
              pulse_target = (uint32_t)(180.0f * 11.11f + 500.0f);
              point.pen_down = 0;
          }
          else // Si está sin color lo cogemos
          {
              pulse_target = (uint32_t)(50.0f * 11.11f + 500.0f);
              point.pen_down = 1;
          }

          // Aplicar saturación de seguridad en PWM [us]
          if (pulse_target < 500)  pulse_target = 500;
          if (pulse_target > 2500) pulse_target = 2500;

          // Aplicar al motor directamente el PWM
          __HAL_TIM_SET_COMPARE(&htim4, TIM_CHANNEL_3, pulse_target);

          // Usamos osDelay para dejar de ejecutar la tarea 500us
          osDelay(500);
      }
    }
  }
}

void HAL_TIM_PeriodElapsedCallback(TIM_HandleTypeDef *htim)
{
  if (htim->Instance == TIM6)
  {
    HAL_IncTick();
  }
}

void Error_Handler(void)
{
  __disable_irq();
  while (1)
  {
  }
}
